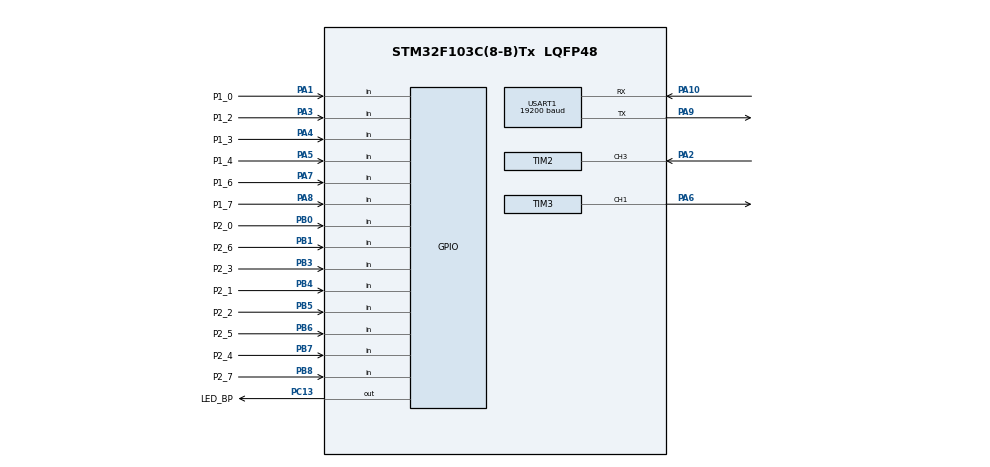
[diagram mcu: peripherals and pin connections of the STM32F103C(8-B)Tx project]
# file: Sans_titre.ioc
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Mcu.Family=STM32F1
Mcu.Name=STM32F103C(8-B)Tx
Mcu.Package=LQFP48
NVIC.PriorityGroup=NVIC_PRIORITYGROUP_4
NVIC.TIM2_IRQn=true\:0\:0\:false\:false\:true\:true\:true\:true
PA1.GPIO_Label=P1_0
PA1.Signal=GPIO_Input
PA10.Mode=Asynchronous
PA10.Signal=USART1_RX
PA13.Mode=Serial_Wire
PA13.Signal=SYS_JTMS-SWDIO
PA14.Mode=Serial_Wire
PA14.Signal=SYS_JTCK-SWCLK
PA2.Signal=S_TIM2_CH3
PA3.GPIO_Label=P1_2
PA3.Signal=GPIO_Input
PA4.GPIO_Label=P1_3
PA4.Signal=GPIO_Input
PA5.GPIO_Label=P1_4
PA5.Signal=GPIO_Input
PA6.Signal=S_TIM3_CH1
PA7.GPIO_Label=P1_6
PA7.Signal=GPIO_Input
PA8.GPIO_Label=P1_7
PA8.Signal=GPIO_Input
PA9.Mode=Asynchronous
PA9.Signal=USART1_TX
PB0.GPIO_Label=P2_0
PB0.Signal=GPIO_Input
PB1.GPIO_Label=P2_6
PB1.Signal=GPIO_Input
PB3.GPIO_Label=P2_3
PB3.Signal=GPIO_Input
PB4.GPIO_Label=P2_1
PB4.Signal=GPIO_Input
PB5.GPIO_Label=P2_2
PB5.Signal=GPIO_Input
PB6.GPIO_Label=P2_5
PB6.Signal=GPIO_Input
PB7.GPIO_Label=P2_4
PB7.Signal=GPIO_Input
PB8.GPIO_Label=P2_7
PB8.Signal=GPIO_Input
PC13-TAMPER-RTC.GPIO_Label=LED_BP
PC13-TAMPER-RTC.Signal=GPIO_Output
PD0-OSC_IN.Mode=HSE-External-Oscillator
PD0-OSC_IN.Signal=RCC_OSC_IN
PD1-OSC_OUT.Mode=HSE-External-Oscillator
PD1-OSC_OUT.Signal=RCC_OSC_OUT
ProjectManager.HeapSize=0x200
ProjectManager.StackSize=0x400
ProjectManager.TargetToolchain=Makefile
RCC.APB1Freq_Value=8000000
RCC.APB2Freq_Value=8000000
SH.S_TIM2_CH3.0=TIM2_CH3,Input_Capture3_from_TI3
SH.S_TIM3_CH1.0=TIM3_CH1,PWM Generation1 CH1
TIM2.Channel-Input_Capture3_from_TI3=TIM_CHANNEL_3
TIM2.Prescaler=63
TIM3.AutoReloadPreload=TIM_AUTORELOAD_PRELOAD_ENABLE
TIM3.Channel-PWM\ Generation1\ CH1=TIM_CHANNEL_1
TIM3.Period=319
TIM3.Pulse-PWM\ Generation1\ CH1=160
USART1.BaudRate=19200
USART1.VirtualMode=VM_ASYNC
VP_TIM2_VS_ClockSourceINT.Mode=Internal
VP_TIM3_VS_ClockSourceINT.Mode=Internal
board=custom

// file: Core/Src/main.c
/* USER CODE BEGIN Header */
/**
  ******************************************************************************
  * @file           : main.c
  * @brief          : Main program body
  ******************************************************************************
  * @attention
  *
  * Copyright (c) 2026 STMicroelectronics.
  * All rights reserved.
  *
  * This software is licensed under terms that can be found in the LICENSE file
  * in the root directory of this software component.
  * If no LICENSE file comes with this software, it is provided AS-IS.
  *
  ******************************************************************************
  */
/* USER CODE END Header */
#include "main.h"
#include "tim.h"
#include "usart.h"
#include "gpio.h"

/* USER CODE BEGIN Includes */
#include "AFLCalcul.h"
#include "Profil.h"
#include "button.h"
#include "fan_control.h"
#include "led_status.h"
#include "tachometer.h"
#include "temperature_stub.h"
#include "uart_cmd.h"
#include "ui_lcd.h"
/* USER CODE END Includes */

/*
 * main.c
 * ------
 * Fichier chef d'orchestre du projet.
 *
 * Il contient :
 * - l'initialisation generale
 * - la boucle infinie
 * - le scheduler cooperatif
 * - la machine a etats principale AFLC
 */

/* USER CODE BEGIN PTD */
// Machine a etats de l'application.
typedef enum {
  AFLC_APP_BOOT = 0,
  AFLC_APP_PROFILES_CALCULATING,
  AFLC_APP_PROFILES_READY,
  AFLC_APP_WAIT_CONFIRM,
  AFLC_APP_STARTUP_TEST_INIT,
  AFLC_APP_STARTUP_TEST_RUN,
  AFLC_APP_STARTUP_TEST_EVAL,
  AFLC_APP_RUNTIME_CONTROL,
  AFLC_APP_SAFE_STATE
} AflcAppState_t;

// Contexte global de l'application.
// On centralise ici ce que l'etat principal doit retenir.
typedef struct {
  AflcAppState_t state;
  uint32_t state_entered_ms;
  const Profil_Result_t *profiles;
  TachometerSnapshot_t tach_snapshot;
  AFLCalcul_Output_t control_output;
  const TemperatureSnapshot_t *temperatures;
  uint8_t startup_passed_mask;
  uint8_t startup_fail_mask;
} AflcAppContext_t;
/* USER CODE END PTD */

/* USER CODE BEGIN PD */
// Periodes des taches cooperatives.
#define TASK_BUTTON_PERIOD_MS         20UL
#define TASK_TACH_PERIOD_MS           50UL
#define TASK_FAN_PERIOD_MS            100UL
#define TASK_CONTROL_PERIOD_MS        250UL
#define TASK_LED_PERIOD_MS            50UL
#define TASK_TEMPERATURE_PERIOD_MS    250UL
#define PROFILES_READY_SHOW_MS        1500UL
#define STARTUP_TEST_DUTY_PERMILLE    250U
#define STARTUP_TEST_TIMEOUT_MS       3000UL
#define STARTUP_TEST_PASS_RPM         200U
/* USER CODE END PD */

/* USER CODE BEGIN PV */
// Horloges logicielles des taches.
static uint32_t g_next_button_task_ms;
static uint32_t g_next_tach_task_ms;
static uint32_t g_next_fan_task_ms;
static uint32_t g_next_control_task_ms;
static uint32_t g_next_led_task_ms;
static uint32_t g_next_temperature_task_ms;
static AflcAppContext_t g_app;
/* USER CODE END PV */

void SystemClock_Config(void);
/* USER CODE BEGIN PFP */
static void BootTrace(const char *text);
static void MX_AFLC_StartPeripherals(void);
static void AFLC_AppTask(uint32_t now_ms);
static void AFLC_AppEnterState(AflcAppState_t next_state, uint32_t now_ms);
static void AFLC_RuntimeStep(void);
static void AFLC_UpdateStartupPassMask(void);
static void AFLC_BuildMaxRpmArray(uint16_t max_rpm[PROFIL_FAN_COUNT]);
/* USER CODE END PFP */

/* USER CODE BEGIN 0 */
static void BootTrace(const char *text)
{
  size_t len = 0U;

  if (text == NULL)
  {
    return;
  }

  while (text[len] != '\0')
  {
    len++;
  }

  // Helper volontairement simple pour tracer le boot sur l'UART.
  (void)HAL_UART_Transmit(&huart1, (uint8_t *)text, (uint16_t)len, 100U);
}

/* USER CODE END 0 */

int main(void)
{

  /* MCU Configuration--------------------------------------------------------*/

  /* Reset of all peripherals, Initializes the Flash interface and the Systick. */
  HAL_Init();

  /* Configure the system clock */
  SystemClock_Config();

  /* Initialize all configured peripherals */
  MX_GPIO_Init();
  MX_USART1_UART_Init();
  BootTrace("\r\n[BOOT] UART OK\r\n");
  MX_TIM2_Init();
  BootTrace("[BOOT] TIM2 OK\r\n");
  MX_TIM3_Init();
  BootTrace("[BOOT] TIM3 OK\r\n");
  /* USER CODE BEGIN 2 */
  // On demarre les peripheriques utiles au projet.
  MX_AFLC_StartPeripherals();
  BootTrace("[BOOT] PERIPH OK\r\n");
  Tachometer_Init();
  BootTrace("[BOOT] TACH OK\r\n");
  FanControl_Init(&htim3);
  BootTrace("[BOOT] FAN OK\r\n");
  LedStatus_Init();
  BootTrace("[BOOT] LED OK\r\n");
  Button_Init();
  BootTrace("[BOOT] BTN OK\r\n");
  TemperatureStub_Init();
  BootTrace("[BOOT] TEMP OK\r\n");
  Profil_Init();
  BootTrace("[BOOT] PROFIL OK\r\n");
  UI_LCD_Init();
  BootTrace("[BOOT] LCD OK\r\n");
  UART_Cmd_Init();
  BootTrace("[BOOT] APP OK\r\n");

  g_app.temperatures = TemperatureStub_GetSnapshot();
  g_app.profiles = NULL;
  g_app.startup_passed_mask = 0U;
  g_app.startup_fail_mask = 0U;

  g_next_button_task_ms = HAL_GetTick();
  g_next_tach_task_ms = HAL_GetTick();
  g_next_fan_task_ms = HAL_GetTick();
  g_next_control_task_ms = HAL_GetTick();
  g_next_led_task_ms = HAL_GetTick();
  g_next_temperature_task_ms = HAL_GetTick();

  AFLC_AppEnterState(AFLC_APP_BOOT, HAL_GetTick());
  /* USER CODE END 2 */

  /* Infinite loop */
  /* USER CODE BEGIN WHILE */
  while (1)
  {
    // Scheduler cooperatif tres simple.
    // Chaque bloc teste son prochain deadline.
    // On evite ainsi un RTOS pour garder le projet lisible.
    uint32_t now_ms = HAL_GetTick();

    UART_Cmd_Task();

    if (now_ms >= g_next_button_task_ms)
    {
      g_next_button_task_ms = now_ms + TASK_BUTTON_PERIOD_MS;
      Button_Task();
    }

    if (now_ms >= g_next_tach_task_ms)
    {
      g_next_tach_task_ms = now_ms + TASK_TACH_PERIOD_MS;
      Tachometer_Task(now_ms);
    }

    if (now_ms >= g_next_fan_task_ms)
    {
      g_next_fan_task_ms = now_ms + TASK_FAN_PERIOD_MS;
      FanControl_Task(now_ms);
    }

    if (now_ms >= g_next_temperature_task_ms)
    {
      g_next_temperature_task_ms = now_ms + TASK_TEMPERATURE_PERIOD_MS;
      TemperatureStub_Task(now_ms);
      g_app.temperatures = TemperatureStub_GetSnapshot();
    }

    if (now_ms >= g_next_control_task_ms)
    {
      g_next_control_task_ms = now_ms + TASK_CONTROL_PERIOD_MS;
      AFLC_RuntimeStep();
    }

    AFLC_AppTask(now_ms);
    UI_LCD_Task(now_ms);

    if (now_ms >= g_next_led_task_ms)
    {
      g_next_led_task_ms = now_ms + TASK_LED_PERIOD_MS;
      LedStatus_Task(now_ms);
    }
    /* USER CODE END WHILE */

  }
}

void SystemClock_Config(void)
{
  RCC_OscInitTypeDef RCC_OscInitStruct = {0};
  RCC_ClkInitTypeDef RCC_ClkInitStruct = {0};

  /** Initializes the RCC Oscillators according to the specified parameters
  * in the RCC_OscInitTypeDef structure.
  */
  RCC_OscInitStruct.OscillatorType = RCC_OSCILLATORTYPE_HSI;
  RCC_OscInitStruct.HSIState = RCC_HSI_ON;
  RCC_OscInitStruct.HSICalibrationValue = RCC_HSICALIBRATION_DEFAULT;
  RCC_OscInitStruct.PLL.PLLState = RCC_PLL_NONE;
  if (HAL_RCC_OscConfig(&RCC_OscInitStruct) != HAL_OK)
  {
    Error_Handler();
  }

  /** Initializes the CPU, AHB and APB buses clocks
  */
  RCC_ClkInitStruct.ClockType = RCC_CLOCKTYPE_HCLK|RCC_CLOCKTYPE_SYSCLK
                              |RCC_CLOCKTYPE_PCLK1|RCC_CLOCKTYPE_PCLK2;
  RCC_ClkInitStruct.SYSCLKSource = RCC_SYSCLKSOURCE_HSI;
  RCC_ClkInitStruct.AHBCLKDivider = RCC_SYSCLK_DIV1;
  RCC_ClkInitStruct.APB1CLKDivider = RCC_HCLK_DIV1;
  RCC_ClkInitStruct.APB2CLKDivider = RCC_HCLK_DIV1;

  if (HAL_RCC_ClockConfig(&RCC_ClkInitStruct, FLASH_LATENCY_0) != HAL_OK)
  {
    Error_Handler();
  }
}

/* USER CODE BEGIN 4 */
void HAL_TIM_IC_CaptureCallback(TIM_HandleTypeDef *htim)
{
  Tachometer_OnCapture(htim);
}

static void MX_AFLC_StartPeripherals(void)
{
  // Demarre les blocs deja configures par CubeMX.

  // TIM2 = input capture tach.
  if (HAL_TIM_IC_Start_IT(&htim2, TIM_CHANNEL_1) != HAL_OK)
  {
    Error_Handler();
  }
  if (HAL_TIM_IC_Start_IT(&htim2, TIM_CHANNEL_2) != HAL_OK)
  {
    Error_Handler();
  }
  if (HAL_TIM_IC_Start_IT(&htim2, TIM_CHANNEL_3) != HAL_OK)
  {
    Error_Handler();
  }
  if (HAL_TIM_IC_Start_IT(&htim2, TIM_CHANNEL_4) != HAL_OK)
  {
    Error_Handler();
  }

  // TIM3 = PWM fans.
  if (HAL_TIM_PWM_Start(&htim3, TIM_CHANNEL_1) != HAL_OK)
  {
    Error_Handler();
  }
  if (HAL_TIM_PWM_Start(&htim3, TIM_CHANNEL_2) != HAL_OK)
  {
    Error_Handler();
  }
  if (HAL_TIM_PWM_Start(&htim3, TIM_CHANNEL_3) != HAL_OK)
  {
    Error_Handler();
  }
  if (HAL_TIM_PWM_Start(&htim3, TIM_CHANNEL_4) != HAL_OK)
  {
    Error_Handler();
  }
}

static void AFLC_AppTask(uint32_t now_ms)
{
  // Machine a etats principale.
  // Une seule source de verite pour le flux de demarrage.
  // Toute la progression de l'application passe ici.
  switch (g_app.state)
  {
    case AFLC_APP_BOOT:
      AFLC_AppEnterState(AFLC_APP_PROFILES_CALCULATING, now_ms);
      break;

    case AFLC_APP_PROFILES_CALCULATING:
      // On calcule les profils une seule fois.
      Profil_CalculateAll();
      g_app.profiles = Profil_GetResult();
      if ((g_app.profiles != NULL) && g_app.profiles->ready && g_app.profiles->valid)
      {
        AFLC_AppEnterState(AFLC_APP_PROFILES_READY, now_ms);
      }
      else
      {
        g_app.startup_fail_mask = 0x0FU;
        AFLC_AppEnterState(AFLC_APP_SAFE_STATE, now_ms);
      }
      break;

    case AFLC_APP_PROFILES_READY:
      // On laisse le temps de voir l'ecran.
      if ((now_ms - g_app.state_entered_ms) >= PROFILES_READY_SHOW_MS)
      {
        AFLC_AppEnterState(AFLC_APP_WAIT_CONFIRM, now_ms);
      }
      break;

    case AFLC_APP_WAIT_CONFIRM:
      // Le systeme attend un GO utilisateur.
      if (Button_IsConfirmPressed())
      {
        Button_ClearConfirm();
        AFLC_AppEnterState(AFLC_APP_STARTUP_TEST_INIT, now_ms);
      }
      break;

    case AFLC_APP_STARTUP_TEST_INIT:
      // Test simple : on force un petit duty puis on observe les tachs.
      g_app.startup_passed_mask = 0U;
      g_app.startup_fail_mask = 0U;
      FanControl_SetDutyPermilleAll(STARTUP_TEST_DUTY_PERMILLE);
      UI_LCD_ShowStartupTest(g_app.startup_passed_mask, g_app.startup_fail_mask, 0U);
      AFLC_AppEnterState(AFLC_APP_STARTUP_TEST_RUN, now_ms);
      break;

    case AFLC_APP_STARTUP_TEST_RUN:
      // Tant qu'on n'a pas vu les 4 fans, on continue.
      AFLC_UpdateStartupPassMask();
      UI_LCD_ShowStartupTest(g_app.startup_passed_mask, 0U, 0U);

      if (g_app.startup_passed_mask == 0x0FU)
      {
        AFLC_AppEnterState(AFLC_APP_STARTUP_TEST_EVAL, now_ms);
      }
      else if ((now_ms - g_app.state_entered_ms) >= STARTUP_TEST_TIMEOUT_MS)
      {
        g_app.startup_fail_mask = (uint8_t)(0x0FU & (uint8_t)(~g_app.startup_passed_mask));
        AFLC_AppEnterState(AFLC_APP_STARTUP_TEST_EVAL, now_ms);
      }
      break;

    case AFLC_APP_STARTUP_TEST_EVAL:
      // Si un fan manque, on bascule en safe state.
      UI_LCD_ShowStartupTest(g_app.startup_passed_mask, g_app.startup_fail_mask, 1U);
      if (g_app.startup_fail_mask == 0U)
      {
        AFLC_AppEnterState(AFLC_APP_RUNTIME_CONTROL, now_ms);
      }
      else
      {
        AFLC_AppEnterState(AFLC_APP_SAFE_STATE, now_ms);
      }
      break;

    case AFLC_APP_RUNTIME_CONTROL:
      // En runtime, on rafraichit l'ecran avec les donnees courantes.
      UI_LCD_ShowRuntime(g_app.profiles,
                         g_app.temperatures,
                         &g_app.control_output,
                         FanControl_GetStatuses());
      break;

    case AFLC_APP_SAFE_STATE:
      // Etat de securite verrouille.
      FanControl_EnterSafeState();
      UI_LCD_ShowSafeState(g_app.startup_fail_mask);
      break;

    default:
      break;
  }
}

static void AFLC_AppEnterState(AflcAppState_t next_state, uint32_t now_ms)
{
  // Changement d'etat centralise.
  // Cela evite de disperser LEDs, LCD et timestamps un peu partout.
  g_app.state = next_state;
  g_app.state_entered_ms = now_ms;

  switch (next_state)
  {
    case AFLC_APP_BOOT:
      LedStatus_SetMode(LED_STATUS_MODE_BOOT);
      break;

    case AFLC_APP_PROFILES_CALCULATING:
      LedStatus_SetMode(LED_STATUS_MODE_BOOT);
      break;

    case AFLC_APP_PROFILES_READY:
      LedStatus_SetMode(LED_STATUS_MODE_PROFILES_READY);
      UI_LCD_ShowProfilesReady(g_app.profiles);
      break;

    case AFLC_APP_WAIT_CONFIRM:
      LedStatus_SetMode(LED_STATUS_MODE_WAIT_CONFIRM);
      UI_LCD_ShowWaitConfirm(g_app.profiles);
      break;

    case AFLC_APP_STARTUP_TEST_INIT:
    case AFLC_APP_STARTUP_TEST_RUN:
    case AFLC_APP_STARTUP_TEST_EVAL:
      LedStatus_SetMode(LED_STATUS_MODE_STARTUP_TEST);
      break;

    case AFLC_APP_RUNTIME_CONTROL:
      LedStatus_SetMode(LED_STATUS_MODE_RUNTIME);
      break;

    case AFLC_APP_SAFE_STATE:
      LedStatus_SetMode(LED_STATUS_MODE_FAULT);
      break;

    default:
      break;
  }
}

static void AFLC_RuntimeStep(void)
{
  uint16_t max_rpm[PROFIL_FAN_COUNT];

  // On ne regule qu'en vrai mode runtime.
  if ((g_app.state != AFLC_APP_RUNTIME_CONTROL) || (g_app.profiles == NULL) || (g_app.temperatures == NULL))
  {
    return;
  }

  Tachometer_GetSnapshot(&g_app.tach_snapshot);

  // 1. Lire le RPM reel
  // 2. Calculer la cible
  // 3. Convertir la cible en PWM
  // C'est la chaine principale de regulation.
  AFLCalcul_Compute(g_app.profiles, g_app.temperatures, &g_app.tach_snapshot, &g_app.control_output);
  AFLC_BuildMaxRpmArray(max_rpm);
  FanControl_SetTargetRpmArray(g_app.control_output.target_rpm, max_rpm);
}

static void AFLC_UpdateStartupPassMask(void)
{
  uint8_t index;

  Tachometer_GetSnapshot(&g_app.tach_snapshot);

  // Un bit par fan.
  // bit 0 -> fan 1, bit 1 -> fan 2, etc.
  for (index = 0U; index < PROFIL_FAN_COUNT; index++)
  {
    if (g_app.tach_snapshot.fans[index].rpm_filtered >= STARTUP_TEST_PASS_RPM)
    {
      g_app.startup_passed_mask |= (uint8_t)(1U << index);
    }
  }
}

static void AFLC_BuildMaxRpmArray(uint16_t max_rpm[PROFIL_FAN_COUNT])
{
  uint8_t index;

  if ((max_rpm == NULL) || (g_app.profiles == NULL))
  {
    return;
  }

  // FanControl attend un tableau simple de max RPM.
  // On extrait seulement le max_rpm de chaque profil.
  for (index = 0U; index < PROFIL_FAN_COUNT; index++)
  {
    max_rpm[index] = g_app.profiles->fans[index].max_rpm;
  }
}
/* USER CODE END 4 */

void Error_Handler(void)
{
  __disable_irq();
  while (1)
  {
  }
}
